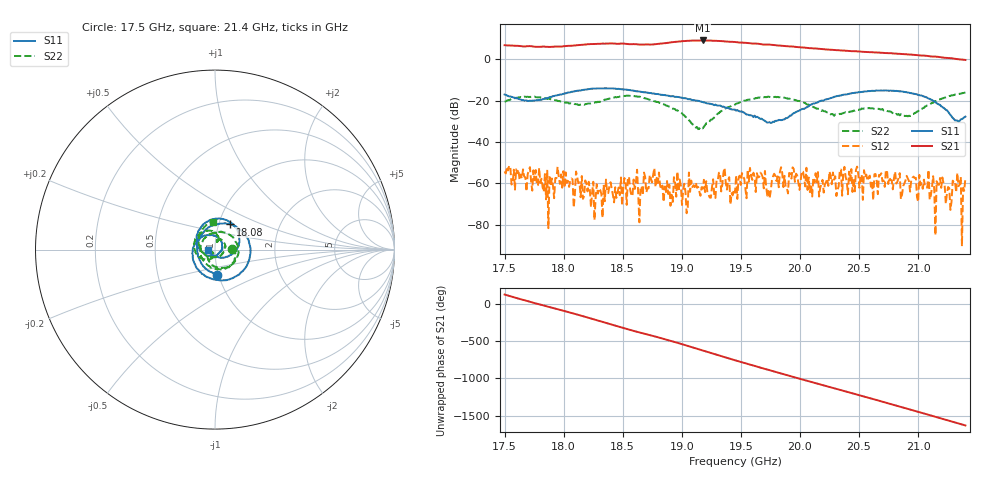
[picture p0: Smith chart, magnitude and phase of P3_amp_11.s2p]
!Created with skrf (http://scikit-rf.org).
# GHz S RI R 50.0
!freq ReS11 ImS11 ReS21 ImS21 ReS12 ImS12 ReS22 ImS22
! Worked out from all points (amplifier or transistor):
!   401 points, 17.5 GHz to 21.4 GHz, reference 50 ohm
!   highest |S21| = 9.1 dB at 19.18 GHz (marker M1)
!   |S21| within 3 dB of that: 17.91 GHz to 19.95 GHz (2.039 GHz wide, 10.8 % of centre) (the widest 1 of 3)
!   unconditionally stable (mu >= 1): start of sweep to end of sweep
!   at 18.14 GHz: K = 466.38, MAG = 7.1 dB, |S12| = -66.7 dB
!   at 19.45 GHz: K = 318.46, MAG = 8.4 dB, |S12| = -64.5 dB
!   at 21.4 GHz: K = 374.93, MAG = -0.2 dB, |S12| = -57.4 dB
!   S11 on the Smith chart (normalised r, x): 17.5 GHz: 0.98, -0.28; 18.08 GHz: 1.14, +0.33; 21.4 GHz: 0.92, -0.00
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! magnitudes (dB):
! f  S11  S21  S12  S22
! 17.5 GHz  -17.0  6.8  -54.2  -20.6
! 18.08 GHz  -15.7  6.6  -58.1  -21.4
! 18.15 GHz  -14.9  7.0  -56.4  -21.7
! 18.25 GHz  -14.3  7.4  -59.2  -21.1
! 18.61 GHz  -15.4  7.3  -59.4  -17.9
! 18.65 GHz  -15.7  7.1  -61.4  -18.2
! 18.75 GHz  -16.5  7.2  -59.5  -19.8
! 18.81 GHz  -16.9  7.5  -54.7  -20.9
! 18.9 GHz  -17.9  8.2  -70.8  -23.1
! 18.95 GHz  -18.1  8.5  -66.4  -24.7
! 19.18 GHz  -20.7  9.1  -62.5  -33.4
! 19.34 GHz  -22.9  8.8  -60.5  -24.8
! 19.45 GHz  -24.3  8.4  -64.5  -21.9
! 19.65 GHz  -28.5  7.5  -56.9  -18.5
! 19.73 GHz  -30.5  7.1  -63.6  -18.0
! 19.93 GHz  -27.1  6.2  -57.7  -19.3
! 20.1 GHz  -21.7  5.3  -66.4  -22.8
! 20.76 GHz  -15.2  3.0  -57.1  -25.2
! 21.13 GHz  -20.1  1.3  -56.5  -21.1
! 21.2 GHz  -23.0  0.9  -57.1  -18.9
! 21.25 GHz  -25.4  0.7  -61.7  -18.0
! 21.4 GHz  -27.7  -0.3  -57.4  -16.1
